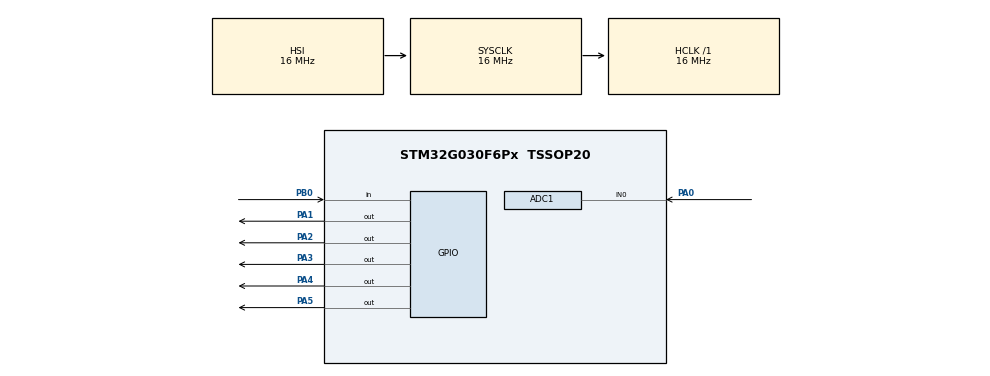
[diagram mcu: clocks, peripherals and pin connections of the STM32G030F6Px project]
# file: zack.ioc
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ADC1.Channel-0\#ChannelRegularConversion=ADC_CHANNEL_0
ADC1.NbrOfConversionFlag=1
ADC1.Rank-0\#ChannelRegularConversion=1
ADC1.SamplingTime-0\#ChannelRegularConversion=ADC_SAMPLINGTIME_COMMON_1
ADC1.SelectedChannel=ADC_CHANNEL_0
ADC1.master=1
Mcu.Family=STM32G0
Mcu.Name=STM32G030F6Px
Mcu.Package=TSSOP20
NVIC.TIM3_IRQn=true\:0\:0\:false\:false\:true\:true\:true\:true
PA0.Mode=IN0
PA0.Signal=ADC1_IN0
PA1.GPIO_PuPd=GPIO_NOPULL
PA1.PinState=GPIO_PIN_SET
PA1.Signal=GPIO_Output
PA14-BOOT0__PA15.StandardMode=true
PA2.GPIO_PuPd=GPIO_NOPULL
PA2.PinState=GPIO_PIN_SET
PA2.Signal=GPIO_Output
PA3.GPIO_PuPd=GPIO_NOPULL
PA3.PinState=GPIO_PIN_SET
PA3.Signal=GPIO_Output
PA4.GPIO_PuPd=GPIO_NOPULL
PA4.PinState=GPIO_PIN_SET
PA4.Signal=GPIO_Output
PA5.GPIO_PuPd=GPIO_NOPULL
PA5.PinState=GPIO_PIN_SET
PA5.Signal=GPIO_Output
PB0.Signal=GPIO_Input
PB0__PB1__PB2__PA8.StandardMode=true
PB3__PB4__PB5__PB6.StandardMode=true
PB7__PB8.StandardMode=true
PC14-OSC32_IN\ (PC14)__PB9.StandardMode=true
ProjectManager.HeapSize=0x200
ProjectManager.StackSize=0x400
ProjectManager.TargetToolchain=STM32CubeIDE
RCC.AHBFreq_Value=16000000
RCC.CortexFreq_Value=16000000
RCC.EXTERNAL_CLOCK_VALUE=12288000
RCC.HCLKFreq_Value=16000000
RCC.HSE_VALUE=8000000
RCC.HSI_VALUE=16000000
RCC.LSE_VALUE=32768
RCC.SYSCLKFreq_VALUE=16000000
RCC.VCOOutputFreq_Value=128000000
TIM3.AutoReloadPreload=TIM_AUTORELOAD_PRELOAD_ENABLE
TIM3.Period=10000
TIM3.Prescaler=15
VP_TIM3_VS_ClockSourceINT.Mode=Internal
board=custom

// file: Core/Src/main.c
/* USER CODE BEGIN Header */
/**
  ******************************************************************************
  * @file           : main.c
  * @brief          : Main program body
  ******************************************************************************
  * @attention
  *
  * Copyright (c) 2022 STMicroelectronics.
  * All rights reserved.
  *
  * This software is licensed under terms that can be found in the LICENSE file
  * in the root directory of this software component.
  * If no LICENSE file comes with this software, it is provided AS-IS.
  *
  ******************************************************************************
  */
/* USER CODE END Header */
#include "main.h"

ADC_HandleTypeDef hadc1;

TIM_HandleTypeDef htim3;

/* USER CODE BEGIN PV
1) All On 100%
2) All flash 100%
3) All flash 50%
4) 1-2-3-4-5 (lane change right)
5) 5-4-3-2-1 (lane change left)
6) 3-4/2-5/1 (split lane)
 USER CODE END PV */

void SystemClock_Config(void);
static void MX_ADC1_Init(void);
static void MX_TIM3_Init(void);
/* USER CODE BEGIN PFP */
uint8_t pattern = 0x00;
uint16_t cnt = 0;
uint8_t t_button = 0;
static void MX_GPIO_Init(void);
int ad_value = 0;
uint8_t channel = 0;
uint8_t dir = 0;
/* USER CODE END PFP */

/* USER CODE BEGIN 0 */
void turn_off_lights()
{
	GPIOA->ODR = GPIOA->ODR & 0xC1;
}

void turn_on_light( uint8_t num)
{
	GPIOA->ODR = GPIOA->ODR & 0xffC1;
	HAL_GPIO_WritePin(GPIOA, (0x0001 << num ), GPIO_PIN_SET);
}
/* USER CODE END 0 */

int main(void)
{
  /* USER CODE BEGIN 1 */
	pattern  = 0x00;
  /* USER CODE END 1 */

  /* MCU Configuration--------------------------------------------------------*/

  /* Reset of all peripherals, Initializes the Flash interface and the Systick. */
  HAL_Init();

  /* Configure the system clock */
  SystemClock_Config();

  /* Initialize all configured peripherals */
  MX_GPIO_Init();
  MX_ADC1_Init();
  MX_TIM3_Init();
  /* USER CODE BEGIN 2 */
  for (uint8_t i = 0; i < 5; i++){
	  turn_on_light(i + 1);
	  HAL_Delay(200);
  }

  for (uint8_t i = 5; i >0; i--){
 	  turn_on_light(i);
 	  HAL_Delay(200);
   }
  turn_off_lights();
  HAL_TIM_Base_Start_IT(&htim3);
  /* USER CODE END 2 */

  /* Infinite loop */
  while (1)
  {

  }
}

void HAL_TIM_PeriodElapsedCallback(TIM_HandleTypeDef* htim) //1ms timer
{
	cnt = cnt + 1;
	t_button = t_button + 1;

	//ad_value = HAL_ADC_GetValue(&hadc1);
	if(HAL_GPIO_ReadPin (GPIOB, GPIO_PIN_0) && (t_button == 150)){
		pattern = pattern + 1;
	}
	/*if(pattern == 0){
		if(((cnt % 150) == 0) && (dir == 0)) {
			channel = channel + 1;
			if (channel == 5) dir = 1;
		}
		else if(((cnt % 150) == 0) && (dir == 1)) {
			channel = channel - 1;
			if(channel == 1) dir = 0;
		}
		turn_on_light(channel);
	}*/
	if(pattern == 0x01){
		channel = (cnt % 5) + 1;
		turn_on_light(channel);
	}
	else if(pattern == 0x02){
		channel = (cnt % 5) + 1;
		if(((cnt / 100) % 2) == 1)
			turn_on_light(channel);
		else
			turn_off_lights();
	}
	else if(pattern == 0x03) {
		channel = (cnt % 5) + 1;
		if(((cnt / 100) % 2) == 1){
			if((cnt % 2) == 0)
				turn_on_light(channel);
			else
				turn_off_lights();
		}
		else
			turn_off_lights();
	}
	else if (pattern == 0x04){
		channel = ((cnt / 150) % 6);
		turn_on_light(channel);
	}
	else if (pattern == 0x05){
		channel = 5 - ((cnt / 150) % 6);
		turn_on_light(channel);
	}
	else if(pattern == 0x06){
		channel = (cnt / 200) % 4;
		if((channel == 2) && ((cnt % 2) == 0)) turn_on_light(1);
		if((channel == 2) && ((cnt % 2) == 1)) turn_on_light(5);
		if((channel == 1) && ((cnt % 2) == 0)) turn_on_light(2);
		if((channel == 1) && ((cnt % 2) == 1)) turn_on_light(4);
		if(channel == 0) turn_on_light(3);
		if(channel == 3) turn_off_lights();
	}
	else{
		pattern = 0;
		turn_off_lights();
	}
}

void SystemClock_Config(void)
{
  RCC_OscInitTypeDef RCC_OscInitStruct = {0};
  RCC_ClkInitTypeDef RCC_ClkInitStruct = {0};

  /** Configure the main internal regulator output voltage
  */
  HAL_PWREx_ControlVoltageScaling(PWR_REGULATOR_VOLTAGE_SCALE1);

  /** Initializes the RCC Oscillators according to the specified parameters
  * in the RCC_OscInitTypeDef structure.
  */
  RCC_OscInitStruct.OscillatorType = RCC_OSCILLATORTYPE_HSI;
  RCC_OscInitStruct.HSIState = RCC_HSI_ON;
  RCC_OscInitStruct.HSIDiv = RCC_HSI_DIV1;
  RCC_OscInitStruct.HSICalibrationValue = RCC_HSICALIBRATION_DEFAULT;
  RCC_OscInitStruct.PLL.PLLState = RCC_PLL_NONE;
  if (HAL_RCC_OscConfig(&RCC_OscInitStruct) != HAL_OK)
  {
    Error_Handler();
  }

  /** Initializes the CPU, AHB and APB buses clocks
  */
  RCC_ClkInitStruct.ClockType = RCC_CLOCKTYPE_HCLK|RCC_CLOCKTYPE_SYSCLK
                              |RCC_CLOCKTYPE_PCLK1;
  RCC_ClkInitStruct.SYSCLKSource = RCC_SYSCLKSOURCE_HSI;
  RCC_ClkInitStruct.AHBCLKDivider = RCC_SYSCLK_DIV1;
  RCC_ClkInitStruct.APB1CLKDivider = RCC_HCLK_DIV1;

  if (HAL_RCC_ClockConfig(&RCC_ClkInitStruct, FLASH_LATENCY_0) != HAL_OK)
  {
    Error_Handler();
  }
}

static void MX_ADC1_Init(void)
{

  ADC_ChannelConfTypeDef sConfig = {0};

  /** Configure the global features of the ADC (Clock, Resolution, Data Alignment and number of conversion)
  */
  hadc1.Instance = ADC1;
  hadc1.Init.ClockPrescaler = ADC_CLOCK_SYNC_PCLK_DIV2;
  hadc1.Init.Resolution = ADC_RESOLUTION_12B;
  hadc1.Init.DataAlign = ADC_DATAALIGN_RIGHT;
  hadc1.Init.ScanConvMode = ADC_SCAN_DISABLE;
  hadc1.Init.EOCSelection = ADC_EOC_SINGLE_CONV;
  hadc1.Init.LowPowerAutoWait = DISABLE;
  hadc1.Init.LowPowerAutoPowerOff = DISABLE;
  hadc1.Init.ContinuousConvMode = DISABLE;
  hadc1.Init.NbrOfConversion = 1;
  hadc1.Init.DiscontinuousConvMode = DISABLE;
  hadc1.Init.ExternalTrigConv = ADC_SOFTWARE_START;
  hadc1.Init.ExternalTrigConvEdge = ADC_EXTERNALTRIGCONVEDGE_NONE;
  hadc1.Init.DMAContinuousRequests = DISABLE;
  hadc1.Init.Overrun = ADC_OVR_DATA_PRESERVED;
  hadc1.Init.SamplingTimeCommon1 = ADC_SAMPLETIME_1CYCLE_5;
  hadc1.Init.SamplingTimeCommon2 = ADC_SAMPLETIME_1CYCLE_5;
  hadc1.Init.OversamplingMode = DISABLE;
  hadc1.Init.TriggerFrequencyMode = ADC_TRIGGER_FREQ_HIGH;
  if (HAL_ADC_Init(&hadc1) != HAL_OK)
  {
    Error_Handler();
  }

  /** Configure Regular Channel
  */
  sConfig.Channel = ADC_CHANNEL_0;
  sConfig.Rank = ADC_REGULAR_RANK_1;
  sConfig.SamplingTime = ADC_SAMPLINGTIME_COMMON_1;
  if (HAL_ADC_ConfigChannel(&hadc1, &sConfig) != HAL_OK)
  {
    Error_Handler();
  }

}

static void MX_TIM3_Init(void)
{

  TIM_ClockConfigTypeDef sClockSourceConfig = {0};
  TIM_MasterConfigTypeDef sMasterConfig = {0};

  htim3.Instance = TIM3;
  htim3.Init.Prescaler = 15;
  htim3.Init.CounterMode = TIM_COUNTERMODE_UP;
  htim3.Init.Period = 1000;
  htim3.Init.ClockDivision = TIM_CLOCKDIVISION_DIV1;
  htim3.Init.AutoReloadPreload = TIM_AUTORELOAD_PRELOAD_ENABLE;
  if (HAL_TIM_Base_Init(&htim3) != HAL_OK)
  {
    Error_Handler();
  }
  sClockSourceConfig.ClockSource = TIM_CLOCKSOURCE_INTERNAL;
  if (HAL_TIM_ConfigClockSource(&htim3, &sClockSourceConfig) != HAL_OK)
  {
    Error_Handler();
  }
  sMasterConfig.MasterOutputTrigger = TIM_TRGO_RESET;
  sMasterConfig.MasterSlaveMode = TIM_MASTERSLAVEMODE_DISABLE;
  if (HAL_TIMEx_MasterConfigSynchronization(&htim3, &sMasterConfig) != HAL_OK)
  {
    Error_Handler();
  }

}

static void MX_GPIO_Init(void)
{
  GPIO_InitTypeDef GPIO_InitStruct = {0};

  /* GPIO Ports Clock Enable */
  __HAL_RCC_GPIOA_CLK_ENABLE();
  __HAL_RCC_GPIOB_CLK_ENABLE();

  /*Configure GPIO pin Output Level */
  HAL_GPIO_WritePin(GPIOA, GPIO_PIN_1|GPIO_PIN_2|GPIO_PIN_3|GPIO_PIN_4
                          |GPIO_PIN_5, GPIO_PIN_RESET);

  /*Configure GPIO pins : PA1 PA2 PA3 PA4
                           PA5 */
  GPIO_InitStruct.Pin = GPIO_PIN_1|GPIO_PIN_2|GPIO_PIN_3|GPIO_PIN_4
                          |GPIO_PIN_5;
  GPIO_InitStruct.Mode = GPIO_MODE_OUTPUT_PP;
  GPIO_InitStruct.Pull = GPIO_NOPULL;
  GPIO_InitStruct.Speed = GPIO_SPEED_FREQ_HIGH;
  HAL_GPIO_Init(GPIOA, &GPIO_InitStruct);

  /*Configure GPIO pin : PB0 */
  GPIO_InitStruct.Pin = GPIO_PIN_0;
  GPIO_InitStruct.Mode = GPIO_MODE_INPUT;
  GPIO_InitStruct.Pull = GPIO_NOPULL;
  HAL_GPIO_Init(GPIOB, &GPIO_InitStruct);

}

void Error_Handler(void)
{
  __disable_irq();
  while (1)
  {
  }
}
